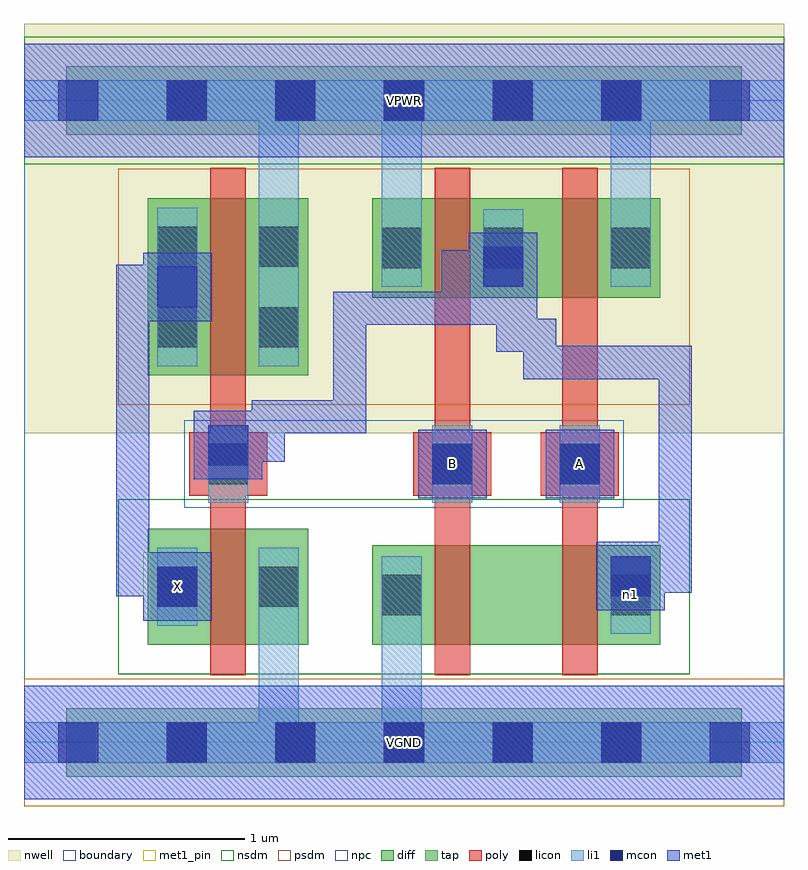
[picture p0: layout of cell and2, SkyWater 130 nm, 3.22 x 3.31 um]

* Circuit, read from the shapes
.subckt and2 A B VGND VPWR X n1
XM1 VGND n1 X VGND sky130_fd_pr__nfet_01v8 w=0.49 l=0.15
XM2 n2 B VGND VGND sky130_fd_pr__nfet_01v8 w=0.42 l=0.15
XM3 n1 A n2 VGND sky130_fd_pr__nfet_01v8 w=0.42 l=0.15
XM4 VPWR n1 X VPWR sky130_fd_pr__pfet_01v8 w=0.75 l=0.15
XM5 n1 B VPWR VPWR sky130_fd_pr__pfet_01v8 w=0.42 l=0.15
XM6 VPWR A n1 VPWR sky130_fd_pr__pfet_01v8 w=0.42 l=0.15
.ends

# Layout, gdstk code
import gdstk
lib = gdstk.Library(unit=1e-6, precision=1e-09)
def R(c, l, rs):  # rectangles x0, y0, x1, y1
    for r in rs: c.add(gdstk.rectangle(r[:2], r[2:], *l))
def A(c, l, x, y, w, h, nx, ny, dx, dy):  # array of equal rectangles
    R(c, l, [(x+i*dx, y+j*dy, x+i*dx+w, y+j*dy+h) for i in range(nx) for j in range(ny)])
nwell = (64, 20)
diff = (65, 20)
tap = (65, 44)
poly = (66, 20)
licon = (66, 44)
li1 = (67, 20)
mcon = (67, 44)
met1_pin = (68, 16)
met1 = (68, 20)
nsdm = (93, 44)
psdm = (94, 20)
npc = (95, 20)
boundary = (235, 4)

and2 = lib.new_cell('and2')
R(and2, nwell, [(0,1.31,3.22,3.045)])
R(and2, diff, [(0.525,0.415,1.205,0.905), (1.475,0.415,2.695,0.835), (0.525,1.555,1.205,2.305), (1.475,1.885,2.695,2.305)])
R(and2, tap, [(0.18,-0.145,3.04,0.145), (0.18,2.575,3.04,2.865)])
R(and2, poly, [(0.79,0.285,0.94,2.435), (1.74,0.285,1.89,2.435), (2.28,0.285,2.43,2.435), (0.7,1.045,1.03,1.315), (1.65,1.045,1.98,1.315), (2.19,1.045,2.52,1.315)])
A(and2, licon, 0.605, -0.085, 0.17, 0.17, 5, 2, 0.46, 2.72)
R(and2, licon, [(1.515,0.54,1.685,0.71), (2.485,0.54,2.655,0.71), (0.565,0.575,0.735,0.745), (0.995,0.575,1.165,0.745), (0.78,1.095,0.95,1.265), (1.73,1.095,1.9,1.265), (2.27,1.095,2.44,1.265), (0.565,1.675,0.735,1.845), (0.995,1.675,1.165,1.845), (1.515,2.01,1.685,2.18), (1.945,2.01,2.115,2.18), (2.485,2.01,2.655,2.18), (0.565,2.015,0.735,2.185), (0.995,2.015,1.165,2.185)])
R(and2, li1, [(0,-0.085,3.22,0.085), (0.995,-0.085,1.165,0.825), (1.515,-0.085,1.685,0.79), (1.515,0.46,1.685,0.79), (2.485,0.46,2.655,0.79), (0.565,0.495,0.735,0.825), (0.995,0.495,1.165,0.825), (0.78,1.015,0.95,1.345), (1.73,1.015,1.9,1.345), (2.27,1.015,2.44,1.345), (0.565,1.595,0.735,2.265), (0.995,1.595,1.165,2.265), (0.995,1.595,1.165,2.805), (1.515,1.93,1.685,2.26), (1.515,1.93,1.685,2.805), (1.945,1.93,2.115,2.26), (2.485,1.93,2.655,2.26), (2.485,1.93,2.655,2.805), (0,2.635,3.22,2.805)])
A(and2, mcon, 0.145, -0.085, 0.17, 0.17, 7, 2, 0.46, 2.72)
R(and2, mcon, [(0.565,0.575,0.735,0.745), (2.485,0.62,2.655,0.79), (1.73,1.095,1.9,1.265), (2.27,1.095,2.44,1.265), (0.78,1.175,0.95,1.345), (0.565,1.845,0.735,2.015), (1.945,1.93,2.115,2.1)])
R(and2, met1_pin, [(0,-0.24,3.22,0.24), (0.505,0.515,0.795,0.805), (1.67,1.035,1.96,1.325), (2.21,1.035,2.5,1.325), (0,2.48,3.22,2.96)])
R(and2, met1, [(0,-0.24,3.22,0.24), (0.505,0.515,0.795,0.805), (2.425,0.56,2.715,0.85), (0.39,0.62,0.645,0.76), (0.39,0.62,0.53,2.025), (0.505,0.62,0.645,0.76), (2.5,0.635,2.83,0.775), (2.69,0.635,2.83,0.875), (2.69,0.735,2.83,1.68), (1.67,1.035,1.96,1.325), (2.21,1.035,2.5,1.325), (0.72,1.115,1.01,1.405), (0.795,1.19,1.105,1.33), (0.965,1.19,1.105,1.45), (0.965,1.31,1.45,1.45), (1.31,1.31,1.45,1.91), (2.115,1.54,2.255,1.795), (2.115,1.54,2.83,1.68), (2,1.655,2.255,1.795), (2,1.655,2.14,1.91), (1.31,1.77,1.91,1.91), (1.77,1.77,1.91,2.085), (1.77,1.77,2.14,1.91), (0.505,1.785,0.795,2.075), (2,1.795,2.175,1.87), (2.115,1.795,2.175,1.87), (1.885,1.87,2.175,2.16), (0.39,1.885,0.645,2.025), (0.505,1.885,0.645,2.025), (1.77,1.91,2.1,1.945), (1.77,1.945,2.1,2.085), (0,2.48,3.22,2.96)])
R(and2, nsdm, [(0.4,0.29,2.82,1.03), (0,2.45,3.22,2.99)])
R(and2, psdm, [(0,-0.27,3.22,0.27), (0.4,1.43,2.82,2.43)])
R(and2, npc, [(0.68,0.995,2.54,1.365)])
R(and2, boundary, [(0,0,3.22,2.72)])
and2.add(gdstk.Label('n1', (2.57,0.625), layer=67, texttype=5))
and2.add(gdstk.Label('A', (2.355,1.18), layer=68, texttype=5))
and2.add(gdstk.Label('B', (1.815,1.18), layer=68, texttype=5))
and2.add(gdstk.Label('X', (0.65,0.66), layer=68, texttype=5))
and2.add(gdstk.Label('VPWR', (1.61,2.72), layer=68, texttype=5))
and2.add(gdstk.Label('VGND', (1.61,0), layer=68, texttype=5))
and2.add(gdstk.Label('A', (2.355,1.18), layer=68, texttype=16))
and2.add(gdstk.Label('B', (1.815,1.18), layer=68, texttype=16))
and2.add(gdstk.Label('X', (0.65,0.66), layer=68, texttype=16))
and2.add(gdstk.Label('VPWR', (1.61,2.72), layer=68, texttype=16))
and2.add(gdstk.Label('VGND', (1.61,0), layer=68, texttype=16))

lib.write_gds('and2.gds')
